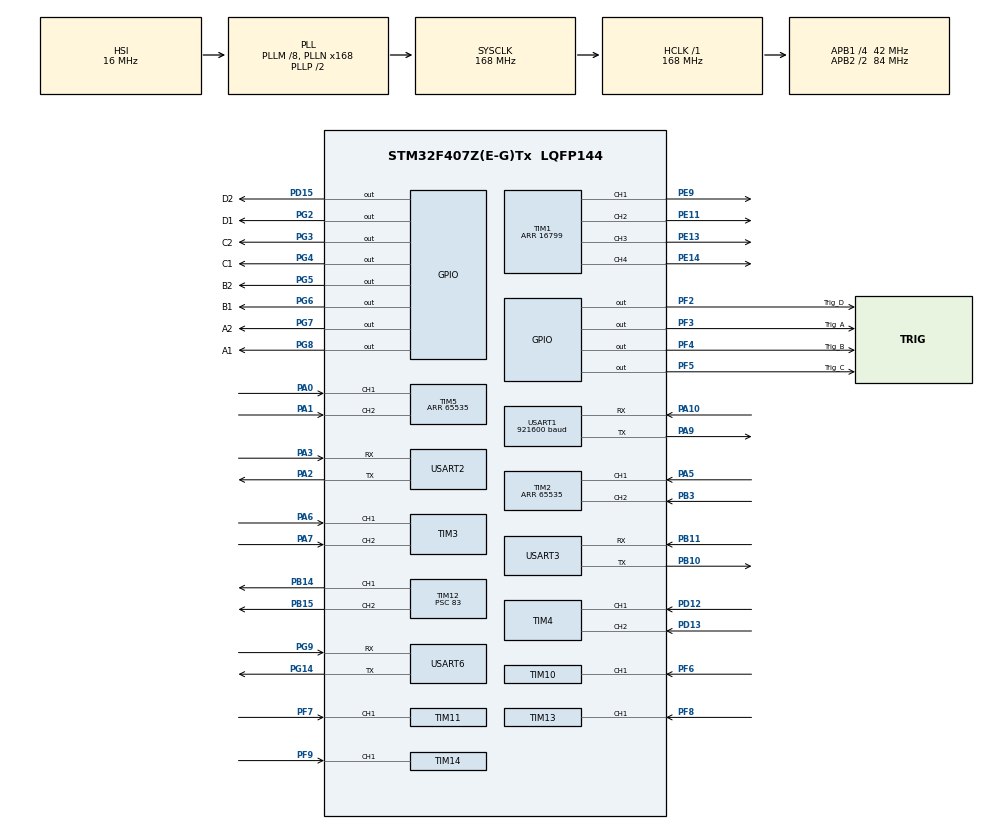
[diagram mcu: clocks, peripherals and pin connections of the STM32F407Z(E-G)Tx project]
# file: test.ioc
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Dma.Request0=USART6_RX
Dma.Request1=USART3_RX
Dma.Request2=USART1_RX
Dma.Request3=USART1_TX
Dma.Request4=USART2_RX
Dma.USART1_RX.2.Direction=DMA_PERIPH_TO_MEMORY
Dma.USART1_RX.2.FIFOMode=DMA_FIFOMODE_DISABLE
Dma.USART1_RX.2.Instance=DMA2_Stream2
Dma.USART1_RX.2.MemDataAlignment=DMA_MDATAALIGN_BYTE
Dma.USART1_RX.2.MemInc=DMA_MINC_ENABLE
Dma.USART1_RX.2.Mode=DMA_CIRCULAR
Dma.USART1_RX.2.PeriphDataAlignment=DMA_PDATAALIGN_BYTE
Dma.USART1_RX.2.PeriphInc=DMA_PINC_DISABLE
Dma.USART1_RX.2.Priority=DMA_PRIORITY_LOW
Dma.USART1_TX.3.Direction=DMA_MEMORY_TO_PERIPH
Dma.USART1_TX.3.FIFOMode=DMA_FIFOMODE_DISABLE
Dma.USART1_TX.3.Instance=DMA2_Stream7
Dma.USART1_TX.3.MemDataAlignment=DMA_MDATAALIGN_BYTE
Dma.USART1_TX.3.MemInc=DMA_MINC_ENABLE
Dma.USART1_TX.3.Mode=DMA_CIRCULAR
Dma.USART1_TX.3.PeriphDataAlignment=DMA_PDATAALIGN_BYTE
Dma.USART1_TX.3.PeriphInc=DMA_PINC_DISABLE
Dma.USART1_TX.3.Priority=DMA_PRIORITY_LOW
Dma.USART2_RX.4.Direction=DMA_PERIPH_TO_MEMORY
Dma.USART2_RX.4.FIFOMode=DMA_FIFOMODE_DISABLE
Dma.USART2_RX.4.Instance=DMA1_Stream5
Dma.USART2_RX.4.MemDataAlignment=DMA_MDATAALIGN_BYTE
Dma.USART2_RX.4.MemInc=DMA_MINC_ENABLE
Dma.USART2_RX.4.Mode=DMA_CIRCULAR
Dma.USART2_RX.4.PeriphDataAlignment=DMA_PDATAALIGN_BYTE
Dma.USART2_RX.4.PeriphInc=DMA_PINC_DISABLE
Dma.USART2_RX.4.Priority=DMA_PRIORITY_LOW
Dma.USART3_RX.1.Direction=DMA_PERIPH_TO_MEMORY
Dma.USART3_RX.1.FIFOMode=DMA_FIFOMODE_DISABLE
Dma.USART3_RX.1.Instance=DMA1_Stream1
Dma.USART3_RX.1.MemDataAlignment=DMA_MDATAALIGN_BYTE
Dma.USART3_RX.1.MemInc=DMA_MINC_ENABLE
Dma.USART3_RX.1.Mode=DMA_CIRCULAR
Dma.USART3_RX.1.PeriphDataAlignment=DMA_PDATAALIGN_BYTE
Dma.USART3_RX.1.PeriphInc=DMA_PINC_DISABLE
Dma.USART3_RX.1.Priority=DMA_PRIORITY_LOW
Dma.USART6_RX.0.Direction=DMA_PERIPH_TO_MEMORY
Dma.USART6_RX.0.FIFOMode=DMA_FIFOMODE_DISABLE
Dma.USART6_RX.0.Instance=DMA2_Stream1
Dma.USART6_RX.0.MemDataAlignment=DMA_MDATAALIGN_BYTE
Dma.USART6_RX.0.MemInc=DMA_MINC_ENABLE
Dma.USART6_RX.0.Mode=DMA_CIRCULAR
Dma.USART6_RX.0.PeriphDataAlignment=DMA_PDATAALIGN_BYTE
Dma.USART6_RX.0.PeriphInc=DMA_PINC_DISABLE
Dma.USART6_RX.0.Priority=DMA_PRIORITY_LOW
FREERTOS.BinarySemaphores01=GoIn_Sem,Dynamic,NULL;Turn_0To90_Sem,Dynamic,NULL;Turn_90To0_Sem,Dynamic,NULL;Shift_Head_Sem,Dynamic,NULL;GoOut_Sem,Dynamic,NULL;Forward_Sem,Dynamic,NULL;Backward_Sem,Dynamic,NULL;Step_Manager_Sem,Dynamic,NULL;ISR_ReadHWT_Sem,Dynamic,NULL;HCSRA_Sem,Dynamic,NULL;HCSRB_Sem,Dynamic,NULL;HCSRC_Sem,Dynamic,NULL;HCSRD_Sem,Dynamic,NULL;Shift_Tail_Sem,Dynamic,NULL;Turn_0_I90_Sem,Dynamic,NULL;Turn_I90_To_0_Sem,Dynamic,NULL;Turn_0To_180_Sem,Dynamic,NULL;Shift_Final_Sem,Dynamic,NULL;Backward_Final_Sem,Dynamic,NULL;ServoSem,Dynamic,NULL;OpenMV_Sem,Dynamic,NULL;openmvSem,Dynamic,NULL
FREERTOS.INCLUDE_vTaskDelayUntil=1
FREERTOS.Tasks01=Run_Task,0,128,RunTask,Default,NULL,Dynamic,NULL,NULL;Step_Manager,-2,128,StepManager,Default,NULL,Dynamic,NULL,NULL;Go_In,-1,128,GoIn,Default,NULL,Dynamic,NULL,NULL;Turn_0To90,-1,128,Turn0_To_90,Default,NULL,Dynamic,NULL,NULL;Turn_90To0,-1,128,Turn90_To_0,Default,NULL,Dynamic,NULL,NULL;Forward,-1,128,Forward_,Default,NULL,Dynamic,NULL,NULL;Backward,-1,128,Backward_,Default,NULL,Dynamic,NULL,NULL;Shift_Head,-1,128,Shift_Head_Task,Default,NULL,Dynamic,NULL,NULL;Go_Out,-1,128,GoOut,Default,NULL,Dynamic,NULL,NULL;Read_HWT101,2,128,ReadHWT101,Default,NULL,Dynamic,NULL,NULL;Start_ISR,3,128,StartISR,Default,NULL,Dynamic,NULL,NULL;HCSRA_Process,1,128,HCSRAProcess,Default,NULL,Dynamic,NULL,NULL;HCSRB_Process,1,128,HCSRBProcess,Default,NULL,Dynamic,NULL,NULL;Shift_Tail,-1,128,Shift_Tail_Task,Default,NULL,Dynamic,NULL,NULL;Turn_Zero_To_I9,-1,128,Turn_Zero_To_I90_Task,Default,NULL,Dynamic,NULL,NULL;Turn_I90_To_Zer,-1,128,Turn_I90_To_Zero,Default,NULL,Dynamic,NULL,NULL;Turn_0To_180,-1,128,Turn_0To_180_Task,Default,NULL,Dynamic,NULL,NULL;Shift_Final,-1,128,Shift_Final_Task,Default,NULL,Dynamic,NULL,NULL;Backward_Final,-1,128,Backward_Final_Task,Default,NULL,Dynamic,NULL,NULL;Servo,-1,128,Servo_Task,Default,NULL,Dynamic,NULL,NULL;OpenMV_Process,3,128,OpenMV_Process_Task,Default,NULL,Dynamic,NULL,NULL;openmv_walk,3,128,openmv_walk_task,Default,NULL,Dynamic,NULL,NULL
FREERTOS.configCHECK_FOR_STACK_OVERFLOW=2
FREERTOS.configLIBRARY_MAX_SYSCALL_INTERRUPT_PRIORITY=1
Mcu.Family=STM32F4
Mcu.Name=STM32F407Z(E-G)Tx
Mcu.Package=LQFP144
NVIC.DMA1_Stream1_IRQn=true\:0\:0\:false\:false\:true\:true\:false\:true
NVIC.DMA1_Stream5_IRQn=true\:0\:0\:false\:false\:true\:true\:false\:true
NVIC.DMA2_Stream1_IRQn=true\:0\:0\:false\:false\:true\:true\:false\:true
NVIC.DMA2_Stream2_IRQn=true\:0\:0\:false\:false\:true\:true\:false\:true
NVIC.DMA2_Stream7_IRQn=true\:0\:0\:false\:false\:true\:true\:false\:true
NVIC.PriorityGroup=NVIC_PRIORITYGROUP_4
NVIC.TIM1_TRG_COM_TIM11_IRQn=true\:4\:0\:true\:false\:true\:false\:true\:true
NVIC.TIM1_UP_TIM10_IRQn=true\:4\:0\:true\:false\:true\:false\:true\:true
NVIC.TIM6_DAC_IRQn=true\:0\:0\:false\:false\:true\:false\:false\:true
NVIC.TIM8_TRG_COM_TIM14_IRQn=true\:4\:0\:true\:false\:true\:true\:true\:true
NVIC.TIM8_UP_TIM13_IRQn=true\:4\:0\:true\:false\:true\:true\:true\:true
NVIC.TimeBase=TIM6_DAC_IRQn
NVIC.TimeBaseIP=TIM6
NVIC.USART1_IRQn=true\:3\:0\:true\:false\:true\:false\:true\:true
NVIC.USART2_IRQn=true\:3\:0\:true\:false\:true\:false\:true\:true
NVIC.USART3_IRQn=true\:3\:0\:true\:false\:true\:false\:true\:true
NVIC.USART6_IRQn=true\:3\:0\:true\:false\:true\:true\:true\:true
PA0-WKUP.Signal=S_TIM5_CH1
PA1.Signal=S_TIM5_CH2
PA10.Mode=Asynchronous
PA10.Signal=USART1_RX
PA13.Mode=Serial_Wire
PA13.Signal=SYS_JTMS-SWDIO
PA14.Mode=Serial_Wire
PA14.Signal=SYS_JTCK-SWCLK
PA2.Mode=Asynchronous
PA2.Signal=USART2_TX
PA3.Mode=Asynchronous
PA3.Signal=USART2_RX
PA5.Signal=S_TIM2_CH1_ETR
PA6.Signal=S_TIM3_CH1
PA7.Signal=S_TIM3_CH2
PA9.Mode=Asynchronous
PA9.Signal=USART1_TX
PB10.Mode=Asynchronous
PB10.Signal=USART3_TX
PB11.Mode=Asynchronous
PB11.Signal=USART3_RX
PB14.Signal=S_TIM12_CH1
PB15.Signal=S_TIM12_CH2
PB3.Signal=S_TIM2_CH2
PC14-OSC32_IN.Mode=LSE-External-Oscillator
PC14-OSC32_IN.Signal=RCC_OSC32_IN
PC15-OSC32_OUT.Mode=LSE-External-Oscillator
PC15-OSC32_OUT.Signal=RCC_OSC32_OUT
PD12.Signal=S_TIM4_CH1
PD13.Signal=S_TIM4_CH2
PD15.GPIO_Label=D2
PD15.Signal=GPIO_Output
PE11.Signal=S_TIM1_CH2
PE13.Signal=S_TIM1_CH3
PE14.Signal=S_TIM1_CH4
PE9.Signal=S_TIM1_CH1
PF2.GPIO_Label=Trig_D
PF2.Signal=GPIO_Output
PF3.GPIO_Label=Trig_A
PF3.Signal=GPIO_Output
PF4.GPIO_Label=Trig_B
PF4.Signal=GPIO_Output
PF5.GPIO_Label=Trig_C
PF5.Signal=GPIO_Output
PF6.Signal=S_TIM10_CH1
PF7.Signal=S_TIM11_CH1
PF8.Signal=S_TIM13_CH1
PF9.Signal=S_TIM14_CH1
PG14.Mode=Asynchronous
PG14.Signal=USART6_TX
PG2.GPIO_Label=D1
PG2.Signal=GPIO_Output
PG3.GPIO_Label=C2
PG3.Signal=GPIO_Output
PG4.GPIO_Label=C1
PG4.Signal=GPIO_Output
PG5.GPIO_Label=B2
PG5.Signal=GPIO_Output
PG6.GPIO_Label=B1
PG6.Signal=GPIO_Output
PG7.GPIO_Label=A2
PG7.Signal=GPIO_Output
PG8.GPIO_Label=A1
PG8.Signal=GPIO_Output
PG9.Mode=Asynchronous
PG9.Signal=USART6_RX
PH0-OSC_IN.Mode=HSE-External-Oscillator
PH0-OSC_IN.Signal=RCC_OSC_IN
PH1-OSC_OUT.Mode=HSE-External-Oscillator
PH1-OSC_OUT.Signal=RCC_OSC_OUT
ProjectManager.HeapSize=0x200
ProjectManager.StackSize=0x400
ProjectManager.TargetToolchain=MDK-ARM V5
RCC.48MHZClocksFreq_Value=84000000
RCC.AHBFreq_Value=168000000
RCC.APB1CLKDivider=RCC_HCLK_DIV4
RCC.APB1Freq_Value=42000000
RCC.APB1TimFreq_Value=84000000
RCC.APB2CLKDivider=RCC_HCLK_DIV2
RCC.APB2Freq_Value=84000000
RCC.APB2TimFreq_Value=168000000
RCC.CortexFreq_Value=168000000
RCC.HCLKFreq_Value=168000000
RCC.HSE_VALUE=8000000
RCC.HSI_VALUE=16000000
RCC.PLLM=8
RCC.PLLN=168
RCC.RCC_RTC_Clock_Source=RCC_RTCCLKSOURCE_LSI
RCC.RCC_RTC_Clock_SourceVirtual=RCC_RTCCLKSOURCE_LSI
RCC.SYSCLKFreq_VALUE=168000000
RCC.SYSCLKSource=RCC_SYSCLKSOURCE_PLLCLK
RCC.VCOOutputFreq_Value=336000000
SH.S_TIM10_CH1.0=TIM10_CH1,Input_Capture1_from_TI1
SH.S_TIM11_CH1.0=TIM11_CH1,Input_Capture1_from_TI1
SH.S_TIM12_CH1.0=TIM12_CH1,PWM Generation1 CH1
SH.S_TIM12_CH2.0=TIM12_CH2,PWM Generation2 CH2
SH.S_TIM13_CH1.0=TIM13_CH1,Input_Capture1_from_TI1
SH.S_TIM14_CH1.0=TIM14_CH1,Input_Capture1_from_TI1
SH.S_TIM1_CH1.0=TIM1_CH1,PWM Generation1 CH1
SH.S_TIM1_CH2.0=TIM1_CH2,PWM Generation2 CH2
SH.S_TIM1_CH3.0=TIM1_CH3,PWM Generation3 CH3
SH.S_TIM1_CH4.0=TIM1_CH4,PWM Generation4 CH4
SH.S_TIM2_CH1_ETR.0=TIM2_CH1,Encoder_Interface
SH.S_TIM2_CH2.0=TIM2_CH2,Encoder_Interface
SH.S_TIM3_CH1.0=TIM3_CH1,Encoder_Interface
SH.S_TIM3_CH2.0=TIM3_CH2,Encoder_Interface
SH.S_TIM4_CH1.0=TIM4_CH1,Encoder_Interface
SH.S_TIM4_CH2.0=TIM4_CH2,Encoder_Interface
SH.S_TIM5_CH1.0=TIM5_CH1,Encoder_Interface
SH.S_TIM5_CH2.0=TIM5_CH2,Encoder_Interface
TIM1.Channel-PWM\ Generation1\ CH1=TIM_CHANNEL_1
TIM1.Channel-PWM\ Generation2\ CH2=TIM_CHANNEL_2
TIM1.Channel-PWM\ Generation3\ CH3=TIM_CHANNEL_3
TIM1.Channel-PWM\ Generation4\ CH4=TIM_CHANNEL_4
TIM1.Period=16799
TIM10.Channel=TIM_CHANNEL_1
TIM10.Prescaler=167
TIM11.Channel=TIM_CHANNEL_1
TIM11.Prescaler=167
TIM12.AutoReloadPreload=TIM_AUTORELOAD_PRELOAD_ENABLE
TIM12.Channel-PWM\ Generation1\ CH1=TIM_CHANNEL_1
TIM12.Channel-PWM\ Generation2\ CH2=TIM_CHANNEL_2
TIM12.Period=19999
TIM12.Prescaler=83
TIM13.Channel=TIM_CHANNEL_1
TIM13.Prescaler=83
TIM14.Channel=TIM_CHANNEL_1
TIM14.Prescaler=83
TIM2.EncoderMode=TIM_ENCODERMODE_TI12
TIM2.Period=65535
TIM3.EncoderMode=TIM_ENCODERMODE_TI12
TIM4.EncoderMode=TIM_ENCODERMODE_TI12
TIM5.EncoderMode=TIM_ENCODERMODE_TI12
TIM5.Period=65535
USART1.BaudRate=921600
USART1.VirtualMode=VM_ASYNC
USART2.VirtualMode=VM_ASYNC
USART3.VirtualMode=VM_ASYNC
USART6.VirtualMode=VM_ASYNC
VP_FREERTOS_VS_CMSIS_V1.Mode=CMSIS_V1
VP_SYS_VS_tim6.Mode=TIM6
VP_TIM10_VS_ClockSourceINT.Mode=Enable_Timer
VP_TIM11_VS_ClockSourceINT.Mode=Enable_Timer
VP_TIM13_VS_ClockSourceINT.Mode=Enable_Timer
VP_TIM14_VS_ClockSourceINT.Mode=Enable_Timer
board=custom

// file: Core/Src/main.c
/* USER CODE BEGIN Header */
/**
  ******************************************************************************
  * @file           : main.c
  * @brief          : Main program body
  ******************************************************************************
  * @attention
  *
  * <h2><center>&copy; Copyright (c) 2020 STMicroelectronics.
  * All rights reserved.</center></h2>
  *
  * This software component is licensed by ST under Ultimate Liberty license
  * SLA0044, the "License"; You may not use this file except in compliance with
  * the License. You may obtain a copy of the License at:
  *                             www.st.com/SLA0044
  *
  ******************************************************************************
  */
/* USER CODE END Header */
#include "main.h"
#include "cmsis_os.h"
#include "dma.h"
#include "tim.h"
#include "usart.h"
#include "gpio.h"

/* USER CODE BEGIN Includes */
#include "PID.h"
#include "RUN.h"
/* USER CODE END Includes */

/* USER CODE BEGIN PTD */
extern int16_t *Encoder;
/* USER CODE END PTD */

void SystemClock_Config(void);
void MX_FREERTOS_Init(void);

int main(void)
{

  /* MCU Configuration--------------------------------------------------------*/

  /* Reset of all peripherals, Initializes the Flash interface and the Systick. */
  HAL_Init();

  /* Configure the system clock */
  SystemClock_Config();

  /* Initialize all configured peripherals */
  MX_GPIO_Init();
  MX_DMA_Init();
  MX_TIM1_Init();
  MX_TIM2_Init();
  MX_TIM3_Init();
  MX_TIM4_Init();
  MX_TIM5_Init();
  MX_USART1_UART_Init();
  MX_USART2_UART_Init();
  MX_TIM10_Init();
  MX_TIM11_Init();
  MX_TIM13_Init();
  MX_TIM14_Init();
  MX_USART3_UART_Init();
  MX_USART6_UART_Init();
  MX_TIM12_Init();
  /* USER CODE BEGIN 2 */

	HAL_TIM_Encoder_Start(&htim2, TIM_CHANNEL_ALL);//切记配置T1T2四倍频输出
	HAL_TIM_Encoder_Start(&htim3, TIM_CHANNEL_ALL);//切记配置T1T2四倍频输出
	HAL_TIM_Encoder_Start(&htim4, TIM_CHANNEL_ALL);//切记配置T1T2四倍频输出
	HAL_TIM_Encoder_Start(&htim5, TIM_CHANNEL_ALL);//切记配置T1T2四倍频输出

	HAL_TIM_PWM_Start(&htim1, TIM_CHANNEL_1);
	HAL_TIM_PWM_Start(&htim1, TIM_CHANNEL_2);
	HAL_TIM_PWM_Start(&htim1, TIM_CHANNEL_3);
	HAL_TIM_PWM_Start(&htim1, TIM_CHANNEL_4);

	HAL_TIM_PWM_Start(&htim12, TIM_CHANNEL_1);
	HAL_TIM_PWM_Start(&htim12, TIM_CHANNEL_2);

	ALL_PID_Init();//初始化PID参数

	HAL_Delay(3000);//延迟3秒再启动

  /* USER CODE END 2 */

  /* Call init function for freertos objects (in freertos.c) */
  MX_FREERTOS_Init();
  /* Start scheduler */
  osKernelStart();

  /* We should never get here as control is now taken by the scheduler */
  /* Infinite loop */
  while (1)
  {

  }
}

void SystemClock_Config(void)
{
  RCC_OscInitTypeDef RCC_OscInitStruct = {0};
  RCC_ClkInitTypeDef RCC_ClkInitStruct = {0};
  RCC_PeriphCLKInitTypeDef PeriphClkInitStruct = {0};

  /** Configure the main internal regulator output voltage
  */
  __HAL_RCC_PWR_CLK_ENABLE();
  __HAL_PWR_VOLTAGESCALING_CONFIG(PWR_REGULATOR_VOLTAGE_SCALE1);
  /** Initializes the RCC Oscillators according to the specified parameters
  * in the RCC_OscInitTypeDef structure.
  */
  RCC_OscInitStruct.OscillatorType = RCC_OSCILLATORTYPE_HSI|RCC_OSCILLATORTYPE_HSE;
  RCC_OscInitStruct.HSEState = RCC_HSE_ON;
  RCC_OscInitStruct.HSIState = RCC_HSI_ON;
  RCC_OscInitStruct.HSICalibrationValue = RCC_HSICALIBRATION_DEFAULT;
  RCC_OscInitStruct.PLL.PLLState = RCC_PLL_ON;
  RCC_OscInitStruct.PLL.PLLSource = RCC_PLLSOURCE_HSI;
  RCC_OscInitStruct.PLL.PLLM = 8;
  RCC_OscInitStruct.PLL.PLLN = 168;
  RCC_OscInitStruct.PLL.PLLP = RCC_PLLP_DIV2;
  RCC_OscInitStruct.PLL.PLLQ = 4;
  if (HAL_RCC_OscConfig(&RCC_OscInitStruct) != HAL_OK)
  {
    Error_Handler();
  }
  /** Initializes the CPU, AHB and APB buses clocks
  */
  RCC_ClkInitStruct.ClockType = RCC_CLOCKTYPE_HCLK|RCC_CLOCKTYPE_SYSCLK
                              |RCC_CLOCKTYPE_PCLK1|RCC_CLOCKTYPE_PCLK2;
  RCC_ClkInitStruct.SYSCLKSource = RCC_SYSCLKSOURCE_PLLCLK;
  RCC_ClkInitStruct.AHBCLKDivider = RCC_SYSCLK_DIV1;
  RCC_ClkInitStruct.APB1CLKDivider = RCC_HCLK_DIV4;
  RCC_ClkInitStruct.APB2CLKDivider = RCC_HCLK_DIV2;

  if (HAL_RCC_ClockConfig(&RCC_ClkInitStruct, FLASH_LATENCY_5) != HAL_OK)
  {
    Error_Handler();
  }
  PeriphClkInitStruct.PeriphClockSelection = RCC_PERIPHCLK_RTC;
  PeriphClkInitStruct.RTCClockSelection = RCC_RTCCLKSOURCE_LSI;
  if (HAL_RCCEx_PeriphCLKConfig(&PeriphClkInitStruct) != HAL_OK)
  {
    Error_Handler();
  }
}

void HAL_TIM_PeriodElapsedCallback(TIM_HandleTypeDef *htim)
{
  if (htim->Instance == TIM6) {
    HAL_IncTick();
  }
}

void Error_Handler(void)
{
}

/************************ (C) COPYRIGHT STMicroelectronics *****END OF FILE****/

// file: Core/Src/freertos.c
/* USER CODE BEGIN Header */
/**
  ******************************************************************************
  * File Name          : freertos.c
  * Description        : Code for freertos applications
  ******************************************************************************
  * @attention
  *
  * <h2><center>&copy; Copyright (c) 2020 STMicroelectronics.
  * All rights reserved.</center></h2>
  *
  * This software component is licensed by ST under Ultimate Liberty license
  * SLA0044, the "License"; You may not use this file except in compliance with
  * the License. You may obtain a copy of the License at:
  *                             www.st.com/SLA0044
  *
  ******************************************************************************
  */
/* USER CODE END Header */

#include "FreeRTOS.h"
#include "task.h"
#include "main.h"
#include "cmsis_os.h"

/* USER CODE BEGIN Includes */
#include "MOTION_CONTROL.h"
#include "PID.h"
#include "RUN.h"
#include "HCSR04.h"
#include "stdio.h"
#include	"bsp_laser.h"
#include  "bsp_gyro.h"
/* USER CODE END Includes */

/* USER CODE BEGIN PTD */
#define Turn_Range 3.0
#define Forward_Dis 30
#define Backward_Dis 10
#define AlongWall_Dis 230
#define GoIn_Dis 50
#define GoOut_Dis 50

#define Shift_Dis 57

#define fast_speed 1500
#define middle_speed 800
#define shift_speed 1200

uint8_t Servo_Flag=0;
//1200 中等
//800  最慢

uint16_t up_servo=2400;

uint16_t down_servo=900;

/* USER CODE END PTD */

/* USER CODE BEGIN Variables */
extern UART_HandleTypeDef huart1;
extern TIM_HandleTypeDef htim10;
extern TIM_HandleTypeDef htim11;
extern TIM_HandleTypeDef htim13;
extern TIM_HandleTypeDef htim14;

/* USER CODE END Variables */
osThreadId Run_TaskHandle;
osThreadId Step_ManagerHandle;
osThreadId Go_InHandle;
osThreadId Turn_0To90Handle;
osThreadId Turn_90To0Handle;
osThreadId ForwardHandle;
osThreadId BackwardHandle;
osThreadId Shift_HeadHandle;
osThreadId Go_OutHandle;
osThreadId Read_HWT101Handle;
osThreadId Start_ISRHandle;
osThreadId HCSRA_ProcessHandle;
osThreadId HCSRB_ProcessHandle;
osThreadId Shift_TailHandle;
osThreadId Turn_Zero_To_I9Handle;
osThreadId Turn_I90_To_ZerHandle;
osThreadId Turn_0To_180Handle;
osThreadId Shift_FinalHandle;
osThreadId Backward_FinalHandle;
osThreadId ServoHandle;
osThreadId OpenMV_ProcessHandle;
osThreadId openmv_walkHandle;
osSemaphoreId GoIn_SemHandle;
osSemaphoreId Turn_0To90_SemHandle;
osSemaphoreId Turn_90To0_SemHandle;
osSemaphoreId Shift_Head_SemHandle;
osSemaphoreId GoOut_SemHandle;
osSemaphoreId Forward_SemHandle;
osSemaphoreId Backward_SemHandle;
osSemaphoreId Step_Manager_SemHandle;
osSemaphoreId ISR_ReadHWT_SemHandle;
osSemaphoreId HCSRA_SemHandle;
osSemaphoreId HCSRB_SemHandle;
osSemaphoreId HCSRC_SemHandle;
osSemaphoreId HCSRD_SemHandle;
osSemaphoreId Shift_Tail_SemHandle;
osSemaphoreId Turn_0_I90_SemHandle;
osSemaphoreId Turn_I90_To_0_SemHandle;
osSemaphoreId Turn_0To_180_SemHandle;
osSemaphoreId Shift_Final_SemHandle;
osSemaphoreId Backward_Final_SemHandle;
osSemaphoreId ServoSemHandle;
osSemaphoreId OpenMV_SemHandle;
osSemaphoreId openmvSemHandle;

void RunTask(void const * argument);
void StepManager(void const * argument);
void GoIn(void const * argument);
void Turn0_To_90(void const * argument);
void Turn90_To_0(void const * argument);
void Forward_(void const * argument);
void Backward_(void const * argument);
void Shift_Head_Task(void const * argument);
void GoOut(void const * argument);
void ReadHWT101(void const * argument);
void StartISR(void const * argument);
void HCSRAProcess(void const * argument);
void HCSRBProcess(void const * argument);
void Shift_Tail_Task(void const * argument);
void Turn_Zero_To_I90_Task(void const * argument);
void Turn_I90_To_Zero(void const * argument);
void Turn_0To_180_Task(void const * argument);
void Shift_Final_Task(void const * argument);
void Backward_Final_Task(void const * argument);
void Servo_Task(void const * argument);
void OpenMV_Process_Task(void const * argument);
void openmv_walk_task(void const * argument);

void MX_FREERTOS_Init(void); /* (MISRA C 2004 rule 8.1) */

/* GetIdleTaskMemory prototype (linked to static allocation support) */
void vApplicationGetIdleTaskMemory( StaticTask_t **ppxIdleTaskTCBBuffer, StackType_t **ppxIdleTaskStackBuffer, uint32_t *pulIdleTaskStackSize );

/* Hook prototypes */
void vApplicationStackOverflowHook(xTaskHandle xTask, signed char *pcTaskName);

/* USER CODE BEGIN 4 */
__weak void vApplicationStackOverflowHook(xTaskHandle xTask, signed char *pcTaskName)
{
   /* Run time stack overflow checking is performed if
   configCHECK_FOR_STACK_OVERFLOW is defined to 1 or 2. This hook function is
   called if a stack overflow is detected. */
	 printf("任务：%s堆栈溢出\r\n", pcTaskName);
}

float absolute(float ang)
{
	if(ang>=0) return ang;
	else return 360+ang;
}
/* USER CODE END 4 */

/* USER CODE BEGIN GET_IDLE_TASK_MEMORY */
static StaticTask_t xIdleTaskTCBBuffer;
static StackType_t xIdleStack[configMINIMAL_STACK_SIZE];

void vApplicationGetIdleTaskMemory( StaticTask_t **ppxIdleTaskTCBBuffer, StackType_t **ppxIdleTaskStackBuffer, uint32_t *pulIdleTaskStackSize )
{
  *ppxIdleTaskTCBBuffer = &xIdleTaskTCBBuffer;
  *ppxIdleTaskStackBuffer = &xIdleStack[0];
  *pulIdleTaskStackSize = configMINIMAL_STACK_SIZE;
  /* place for user code */
}
/* USER CODE END GET_IDLE_TASK_MEMORY */

void MX_FREERTOS_Init(void) {

  /* Create the semaphores(s) */
  /* definition and creation of GoIn_Sem */
  osSemaphoreDef(GoIn_Sem);
  GoIn_SemHandle = osSemaphoreCreate(osSemaphore(GoIn_Sem), 1);

  /* definition and creation of Turn_0To90_Sem */
  osSemaphoreDef(Turn_0To90_Sem);
  Turn_0To90_SemHandle = osSemaphoreCreate(osSemaphore(Turn_0To90_Sem), 1);

  /* definition and creation of Turn_90To0_Sem */
  osSemaphoreDef(Turn_90To0_Sem);
  Turn_90To0_SemHandle = osSemaphoreCreate(osSemaphore(Turn_90To0_Sem), 1);

  /* definition and creation of Shift_Head_Sem */
  osSemaphoreDef(Shift_Head_Sem);
  Shift_Head_SemHandle = osSemaphoreCreate(osSemaphore(Shift_Head_Sem), 1);

  /* definition and creation of GoOut_Sem */
  osSemaphoreDef(GoOut_Sem);
  GoOut_SemHandle = osSemaphoreCreate(osSemaphore(GoOut_Sem), 1);

  /* definition and creation of Forward_Sem */
  osSemaphoreDef(Forward_Sem);
  Forward_SemHandle = osSemaphoreCreate(osSemaphore(Forward_Sem), 1);

  /* definition and creation of Backward_Sem */
  osSemaphoreDef(Backward_Sem);
  Backward_SemHandle = osSemaphoreCreate(osSemaphore(Backward_Sem), 1);

  /* definition and creation of Step_Manager_Sem */
  osSemaphoreDef(Step_Manager_Sem);
  Step_Manager_SemHandle = osSemaphoreCreate(osSemaphore(Step_Manager_Sem), 1);

  /* definition and creation of ISR_ReadHWT_Sem */
  osSemaphoreDef(ISR_ReadHWT_Sem);
  ISR_ReadHWT_SemHandle = osSemaphoreCreate(osSemaphore(ISR_ReadHWT_Sem), 1);

  /* definition and creation of HCSRA_Sem */
  osSemaphoreDef(HCSRA_Sem);
  HCSRA_SemHandle = osSemaphoreCreate(osSemaphore(HCSRA_Sem), 1);

  /* definition and creation of HCSRB_Sem */
  osSemaphoreDef(HCSRB_Sem);
  HCSRB_SemHandle = osSemaphoreCreate(osSemaphore(HCSRB_Sem), 1);

  /* definition and creation of HCSRC_Sem */
  osSemaphoreDef(HCSRC_Sem);
  HCSRC_SemHandle = osSemaphoreCreate(osSemaphore(HCSRC_Sem), 1);

  /* definition and creation of HCSRD_Sem */
  osSemaphoreDef(HCSRD_Sem);
  HCSRD_SemHandle = osSemaphoreCreate(osSemaphore(HCSRD_Sem), 1);

  /* definition and creation of Shift_Tail_Sem */
  osSemaphoreDef(Shift_Tail_Sem);
  Shift_Tail_SemHandle = osSemaphoreCreate(osSemaphore(Shift_Tail_Sem), 1);

  /* definition and creation of Turn_0_I90_Sem */
  osSemaphoreDef(Turn_0_I90_Sem);
  Turn_0_I90_SemHandle = osSemaphoreCreate(osSemaphore(Turn_0_I90_Sem), 1);

  /* definition and creation of Turn_I90_To_0_Sem */
  osSemaphoreDef(Turn_I90_To_0_Sem);
  Turn_I90_To_0_SemHandle = osSemaphoreCreate(osSemaphore(Turn_I90_To_0_Sem), 1);

  /* definition and creation of Turn_0To_180_Sem */
  osSemaphoreDef(Turn_0To_180_Sem);
  Turn_0To_180_SemHandle = osSemaphoreCreate(osSemaphore(Turn_0To_180_Sem), 1);

  /* definition and creation of Shift_Final_Sem */
  osSemaphoreDef(Shift_Final_Sem);
  Shift_Final_SemHandle = osSemaphoreCreate(osSemaphore(Shift_Final_Sem), 1);

  /* definition and creation of Backward_Final_Sem */
  osSemaphoreDef(Backward_Final_Sem);
  Backward_Final_SemHandle = osSemaphoreCreate(osSemaphore(Backward_Final_Sem), 1);

  /* definition and creation of ServoSem */
  osSemaphoreDef(ServoSem);
  ServoSemHandle = osSemaphoreCreate(osSemaphore(ServoSem), 1);

  /* definition and creation of OpenMV_Sem */
  osSemaphoreDef(OpenMV_Sem);
  OpenMV_SemHandle = osSemaphoreCreate(osSemaphore(OpenMV_Sem), 1);

  /* definition and creation of openmvSem */
  osSemaphoreDef(openmvSem);
  openmvSemHandle = osSemaphoreCreate(osSemaphore(openmvSem), 1);

  /* USER CODE BEGIN RTOS_SEMAPHORES */
  /* add semaphores, ... */

////////////////	//这里不懂

	//清除信号量创建时自动释放的一次信号量		如果添加了新的信号量 		务必在此加上相应信号量
	osSemaphoreWait(GoIn_SemHandle, osWaitForever);
	osSemaphoreWait(Turn_0To90_SemHandle, osWaitForever);
	osSemaphoreWait(Turn_90To0_SemHandle, osWaitForever);
	osSemaphoreWait(Turn_0_I90_SemHandle, osWaitForever);
	osSemaphoreWait(Turn_I90_To_0_SemHandle, osWaitForever);
	osSemaphoreWait(Shift_Head_SemHandle, osWaitForever);
	osSemaphoreWait(Shift_Tail_SemHandle, osWaitForever);
	osSemaphoreWait(GoOut_SemHandle, osWaitForever);
	osSemaphoreWait(Forward_SemHandle, osWaitForever);
	osSemaphoreWait(Backward_SemHandle, osWaitForever);
	osSemaphoreWait(Step_Manager_SemHandle, osWaitForever);
	osSemaphoreWait(ISR_ReadHWT_SemHandle, osWaitForever);
	osSemaphoreWait(HCSRA_SemHandle, osWaitForever);
	osSemaphoreWait(HCSRB_SemHandle, osWaitForever);
	osSemaphoreWait(HCSRC_SemHandle, osWaitForever);
	osSemaphoreWait(HCSRD_SemHandle, osWaitForever);
	osSemaphoreWait(Turn_0To_180_SemHandle, osWaitForever);
	osSemaphoreWait(Shift_Final_SemHandle, osWaitForever);
	osSemaphoreWait(Backward_Final_SemHandle, osWaitForever);
	osSemaphoreWait(ServoSemHandle, osWaitForever);
	osSemaphoreWait(OpenMV_SemHandle, osWaitForever);
	osSemaphoreWait(openmvSemHandle, osWaitForever);
	//清除信号量创建时自动释放的一次信号量		如果添加了新的信号量 		务必在此加上相应信号量

  /* USER CODE END RTOS_SEMAPHORES */

  /* Create the thread(s) */
  /* definition and creation of Run_Task */
  osThreadDef(Run_Task, RunTask, osPriorityNormal, 0, 128);
  Run_TaskHandle = osThreadCreate(osThread(Run_Task), NULL);

  /* definition and creation of Step_Manager */
  osThreadDef(Step_Manager, StepManager, osPriorityLow, 0, 128);
  Step_ManagerHandle = osThreadCreate(osThread(Step_Manager), NULL);

  /* definition and creation of Go_In */
  osThreadDef(Go_In, GoIn, osPriorityBelowNormal, 0, 128);
  Go_InHandle = osThreadCreate(osThread(Go_In), NULL);

  /* definition and creation of Turn_0To90 */
  osThreadDef(Turn_0To90, Turn0_To_90, osPriorityBelowNormal, 0, 128);
  Turn_0To90Handle = osThreadCreate(osThread(Turn_0To90), NULL);

  /* definition and creation of Turn_90To0 */
  osThreadDef(Turn_90To0, Turn90_To_0, osPriorityBelowNormal, 0, 128);
  Turn_90To0Handle = osThreadCreate(osThread(Turn_90To0), NULL);

  /* definition and creation of Forward */
  osThreadDef(Forward, Forward_, osPriorityBelowNormal, 0, 128);
  ForwardHandle = osThreadCreate(osThread(Forward), NULL);

  /* definition and creation of Backward */
  osThreadDef(Backward, Backward_, osPriorityBelowNormal, 0, 128);
  BackwardHandle = osThreadCreate(osThread(Backward), NULL);

  /* definition and creation of Shift_Head */
  osThreadDef(Shift_Head, Shift_Head_Task, osPriorityBelowNormal, 0, 128);
  Shift_HeadHandle = osThreadCreate(osThread(Shift_Head), NULL);

  /* definition and creation of Go_Out */
  osThreadDef(Go_Out, GoOut, osPriorityBelowNormal, 0, 128);
  Go_OutHandle = osThreadCreate(osThread(Go_Out), NULL);

  /* definition and creation of Read_HWT101 */
  osThreadDef(Read_HWT101, ReadHWT101, osPriorityHigh, 0, 128);
  Read_HWT101Handle = osThreadCreate(osThread(Read_HWT101), NULL);

  /* definition and creation of Start_ISR */
  osThreadDef(Start_ISR, StartISR, osPriorityRealtime, 0, 128);
  Start_ISRHandle = osThreadCreate(osThread(Start_ISR), NULL);

  /* definition and creation of HCSRA_Process */
  osThreadDef(HCSRA_Process, HCSRAProcess, osPriorityAboveNormal, 0, 128);
  HCSRA_ProcessHandle = osThreadCreate(osThread(HCSRA_Process), NULL);

  /* definition and creation of HCSRB_Process */
  osThreadDef(HCSRB_Process, HCSRBProcess, osPriorityAboveNormal, 0, 128);
  HCSRB_ProcessHandle = osThreadCreate(osThread(HCSRB_Process), NULL);

  /* definition and creation of Shift_Tail */
  osThreadDef(Shift_Tail, Shift_Tail_Task, osPriorityBelowNormal, 0, 128);
  Shift_TailHandle = osThreadCreate(osThread(Shift_Tail), NULL);

  /* definition and creation of Turn_Zero_To_I9 */
  osThreadDef(Turn_Zero_To_I9, Turn_Zero_To_I90_Task, osPriorityBelowNormal, 0, 128);
  Turn_Zero_To_I9Handle = osThreadCreate(osThread(Turn_Zero_To_I9), NULL);

  /* definition and creation of Turn_I90_To_Zer */
  osThreadDef(Turn_I90_To_Zer, Turn_I90_To_Zero, osPriorityBelowNormal, 0, 128);
  Turn_I90_To_ZerHandle = osThreadCreate(osThread(Turn_I90_To_Zer), NULL);

  /* definition and creation of Turn_0To_180 */
  osThreadDef(Turn_0To_180, Turn_0To_180_Task, osPriorityBelowNormal, 0, 128);
  Turn_0To_180Handle = osThreadCreate(osThread(Turn_0To_180), NULL);

  /* definition and creation of Shift_Final */
  osThreadDef(Shift_Final, Shift_Final_Task, osPriorityBelowNormal, 0, 128);
  Shift_FinalHandle = osThreadCreate(osThread(Shift_Final), NULL);

  /* definition and creation of Backward_Final */
  osThreadDef(Backward_Final, Backward_Final_Task, osPriorityBelowNormal, 0, 128);
  Backward_FinalHandle = osThreadCreate(osThread(Backward_Final), NULL);

  /* definition and creation of Servo */
  osThreadDef(Servo, Servo_Task, osPriorityBelowNormal, 0, 128);
  ServoHandle = osThreadCreate(osThread(Servo), NULL);

  /* definition and creation of OpenMV_Process */
  osThreadDef(OpenMV_Process, OpenMV_Process_Task, osPriorityRealtime, 0, 128);
  OpenMV_ProcessHandle = osThreadCreate(osThread(OpenMV_Process), NULL);

  /* definition and creation of openmv_walk */
  osThreadDef(openmv_walk, openmv_walk_task, osPriorityRealtime, 0, 128);
  openmv_walkHandle = osThreadCreate(osThread(openmv_walk), NULL);

}

void RunTask(void const * argument)
{
  /* USER CODE BEGIN RunTask */
	uint32_t wakeuptime;
//	uint8_t alongwall_end=0;
  /* Infinite loop */
  for(;;)
  {
		wakeuptime=osKernelSysTick();//定期获取时间

		Ultrasonic_Trig_ALL();
		Encoder=read_encoder();

		Calculate_Position();
		Calculate_Displacement();

//		TIM12->CCR1=up_servo;
//		TIM12->CCR2=down_servo;

//		x=600;
//		z=PID_Position_float(angle, 0, &PID_Object[HWT101]);
//
//			y=PID_Position(LASER_Data_Buff[Laser_One_Distance],10, &PID_Object[LAPID_A]);
//			y=PID_Position(HCSR_Object[HCSR_B].Output_Distance,10,&PID_Object[HCNEW_B]);
//		x=PID_Position(HCSR_Object[HCSR_A].Output_Distance,10,&PID_Object[HCNEW_A]);
//		x=PID_Position(HCSR_Object[HCSR_C].Output_Distance,10,&PID_Object[HCNEW_C]);

//		for(int i=0;i<16;i++)
//		{
//				if(x<=800)
//				{
//						x=y+50;
//				}
//		}
//		y=PID_Position(HCSR_Object[HCSR_B].Output_Distance,12,&PID_Object[HCNEW_B]);
//
//		y=PID_Position(LASER_Data_Buff[Laser_Two_Distance],30, &PID_Object[LAPID_B]);
//		x=PID_Position(HCSR_Object[HCSR_A].Output_Distance,12, &PID_Object[HCNEW_A]);

//		z=PID_Position_float(angle, 0, &PID_Object[HWT101]);

//		y=PID_Position(LASER_Data_Buff[Laser_One_Distance],12,&PID_Object[LAPID_A]);

		Target=kinematic_analysis(x,y,z);
//
		set_ccr
		(
				PID_Position(Encoder[0],Target[0], &PID_Object[Motor_A]),
				PID_Position(Encoder[1],Target[1], &PID_Object[Motor_B]),
				PID_Position(Encoder[2],Target[2], &PID_Object[Motor_C]),
				PID_Position(Encoder[3],Target[3], &PID_Object[Motor_D])
		);

		if(Servo_Flag==1)
		{
			x=PID_Position_float(HCSR_Object[HCSR_C].Output_Distance,6,&PID_Object[HCNEW_C]);
			if(HCSR_Object[HCSR_C].Output_Distance==8)
			{
				Servo_Flag=0;
				osSemaphoreRelease(ServoSemHandle);

			}
		}
//		x=PID_Position_float(HCSR_Object[HCSR_C].Output_Distance,15,&PID_Object[HCNEW_C]);

//		if(OpenMV_Process_Busy==1)
//		{
//			if(alongwall_end==0)
//			{
//				x=PID_Position_float(HCSR_Object[HCSR_C].Output_Distance,15,&PID_Object[HCNEW_C]);
//			}
//			if(HCSR_Object[HCSR_C].Output_Distance==15)
//			{
//				x=0;
//				y=PID_Position(OpenMV_dis,-15,&PID_Object[OpenMV]);
//				alongwall_end=1;
//				if(OpenMV_dis<=3-15 && OpenMV_dis>=-3-15)
//				 {
//					 x=PID_Position_float(HCSR_Object[HCSR_C].Output_Distance,8,&PID_Object[HCNEW_C]);
//					 y=0;
//			//		 z=PID_Position(angle,0,&PID_Object[HWT101]);
//					 if(HCSR_Object[HCSR_C].Output_Distance==8)
//					 {
//							x=0;
//						 alongwall_end=0;
//						 //此处应写释放舵机的信号量
//							osSemaphoreRelease(ServoSemHandle);
//					 }
//				 }
//			 }
//		 }

		osDelayUntil(&wakeuptime,10);//固定10ms时间中断一次

  }
  /* USER CODE END RunTask */
}

void StepManager(void const * argument)
{
  /* USER CODE BEGIN StepManager */
  /* Infinite loop */
  for(;;)
  {

		Step_Count++;//此变量具有计数的作用，用于判断车子执行了几个步骤，进而通过此变量来规划下一个步骤
		Step_Sequence_PlanB();
//		Step = Forward_Step;
    switch(Step)
		{
			case GoIn_Step: 			osSemaphoreRelease(GoIn_SemHandle); 			break;
			case Turn_90To0_Step: osSemaphoreRelease(Turn_90To0_SemHandle); break;
			case Turn_0To90_Step: osSemaphoreRelease(Turn_0To90_SemHandle); break;
			case Forward_Step: 		osSemaphoreRelease(Forward_SemHandle); 		break;
			case Backward_Step: 	osSemaphoreRelease(Backward_SemHandle); 	break;
			case Shift_Step_Head: 			osSemaphoreRelease(Shift_Head_SemHandle); 			break;
			case Shift_Step_Tail: 			osSemaphoreRelease(Shift_Tail_SemHandle); 			break;
			case GoOut_step: 			osSemaphoreRelease(GoOut_SemHandle); 			break;
			case Turn_0ToI90_Step: osSemaphoreRelease(Turn_0_I90_SemHandle);break;
			case Turn_I90To0_Step: osSemaphoreRelease(Turn_I90_To_0_SemHandle); break;
			case Turn_0To180_Step: osSemaphoreRelease(Turn_0To_180_SemHandle); break;
			case	Shift_Final_Step:osSemaphoreRelease(Shift_Final_SemHandle);break;
			case	Backward_Final_Step:osSemaphoreRelease(Backward_Final_SemHandle);break;
			default : break;
		}

		osSemaphoreWait(Step_Manager_SemHandle, osWaitForever);

  }
  /* USER CODE END StepManager */
}

void GoIn(void const * argument)
{
  /* USER CODE BEGIN GoIn */
  /* Infinite loop */
  for(;;)
  {

		if(Hold_On==0)
		{
			osSemaphoreWait(GoIn_SemHandle, osWaitForever);
			Clear_Displacement();
			Hold_On=1;//接收到信号量之后，让任务处于保持运行状态
		}
		if(x<=800) x=x+5;//加速
		z=PID_Position_float(angle, 0, &PID_Object[HWT101]);

		osDelay(10);

		if(Displacement_X>=51)
		{
			x=0;
			y=0;
			Clear_Displacement();
			Hold_On=0;//退出任务
		  osSemaphoreRelease(Step_Manager_SemHandle);

		}

  }
  /* USER CODE END GoIn */
}

void Turn0_To_90(void const * argument)
{
  /* USER CODE BEGIN Turn0_To_90 */
  /* Infinite loop */
  for(;;)
  {
    if(Hold_On==0)
		{
			osSemaphoreWait(Turn_0To90_SemHandle, osWaitForever);
			Hold_On=1;//接收到信号量之后，让任务处于保持运行状态
		}
		z=PID_Position_float(angle, 90, &PID_Object[HWT101]);
//		osDelay(10);
		if( (angle>=90-Turn_Range) && (angle<=90+Turn_Range) )
		{
			x=0;
			y=0;
			z=0;
			Clear_Displacement();
			Hold_On=0;//退出任务

			osSemaphoreRelease(Step_Manager_SemHandle);
		}

  }
  /* USER CODE END Turn0_To_90 */
}

void Turn90_To_0(void const * argument)
{
  /* USER CODE BEGIN Turn90_To_0 */
  /* Infinite loop */
  for(;;)
  {
		if(Hold_On==0)
		{
			osSemaphoreWait(Turn_90To0_SemHandle, osWaitForever);
			Hold_On=1;//接收到信号量之后，让任务处于保持运行状态
		}
		z=PID_Position_float(angle, 0, &PID_Object[HWT101]);

		if( (angle>=0-Turn_Range) && (angle<=0+Turn_Range) )
		{
			z=0;
			Clear_Displacement();
			Hold_On=0;//退出任务

			osSemaphoreRelease(Step_Manager_SemHandle);
		}

  }

  /* USER CODE END Turn90_To_0 */
}

void Forward_(void const * argument)
{
  /* USER CODE BEGIN Forward_ */
  /* Infinite loop */
  for(;;)
  {

//		if(Hold_On==0)
//		{
//			osSemaphoreWait(Forward_SemHandle, osWaitForever);
//			Clear_Displacement();
//			Hold_On=1;   //接收到信号量之后，让任务处于保持运行状态
//		}
//		y=600;
//		x=PID_Position_float(HCSR_Object[HCSR_C].Output_Distance,15,&PID_Object[HCNEW_C]);
//		z=PID_Position_float(angle,0, &PID_Object[HWT101]);

    if(Hold_On==0)
		{
			osSemaphoreWait(Forward_SemHandle, osWaitForever);
			Clear_Displacement();
			Hold_On=1;   //接收到信号量之后，让任务处于保持运行状态
		}

		if(Displacement_Y<30)
		{
				x=0;
				y=middle_speed;
				z=PID_Position_float(angle,0, &PID_Object[HWT101]);
		}

		if((Displacement_Y>=30)&&(Displacement_Y<=230))
		{
			 x=PID_Position_float(HCSR_Object[HCSR_C].Output_Distance,11,&PID_Object[HCNEW_C]);
//			 y=fast_speed;
				y=middle_speed;
			 z=PID_Position_float(angle,0, &PID_Object[HWT101]);
		}

		if(Displacement_Y>230)
		{
				x=0;
				y=PID_Position(HCSR_Object[HCSR_B].Output_Distance,9,&PID_Object[HCNEW_B]);
				z=PID_Position_float(angle,0, &PID_Object[HWT101]);

				if( (HCSR_Object[HCSR_B].Output_Distance<=9) && (HCSR_Object[HCSR_B].Output_Distance>=8) )
				{
					x=0;
					y=PID_Position(HCSR_Object[HCSR_B].Output_Distance,9,&PID_Object[HCNEW_B]);
					z=0;
					Clear_Displacement();
					Hold_On=0;//退出任务
					osSemaphoreRelease(Step_Manager_SemHandle);
				}
		}
  }
  /* USER CODE END Forward_ */
}

void Backward_(void const * argument)
{
  /* USER CODE BEGIN Backward_ */
  /* Infinite loop */
   for(;;)
  {
    if(Hold_On==0)
		{
			osSemaphoreWait(Backward_SemHandle, osWaitForever);
			Clear_Displacement();
			Hold_On=1;   //接收到信号量之后，让任务处于保持运行状态
		}

		if(Displacement_Y>-30)
		{
				x=0;
				y=-middle_speed;
				z=PID_Position_float(angle,0, &PID_Object[HWT101]);
		}

	else	if((Displacement_Y<=-30)&&(Displacement_Y>=-230))
		{
			 x=PID_Position_float(HCSR_Object[HCSR_C].Output_Distance,11,&PID_Object[HCNEW_C]);
			 y=-middle_speed;
			 z=PID_Position_float(angle,0, &PID_Object[HWT101]);
		}

		if(Displacement_Y<-230)
		{
				x=0;
				y=PID_Position(LASER_Data_Buff[Laser_One_Distance],5,&PID_Object[LAPID_A]);
				z=PID_Position_float(angle,0, &PID_Object[HWT101]);

				if( (LASER_Data_Buff[Laser_One_Distance]<=10) && (LASER_Data_Buff[Laser_One_Distance]>=6) )
				{
					x=0;
					y=PID_Position(LASER_Data_Buff[Laser_One_Distance],8,&PID_Object[LAPID_A]);
//(LASER_Data_Buff[Laser_Two_Distance]
					z=0;
					Clear_Displacement();
					Hold_On=0;//退出任务
					osSemaphoreRelease(Step_Manager_SemHandle);
				}
		}
  }
  /* USER CODE END Backward_ */
}

void Shift_Head_Task(void const * argument)
{
  /* USER CODE BEGIN Shift_Head_Task */
  /* Infinite loop */
  for(;;)
  {
			if(Hold_On==0)
			{
					osSemaphoreWait(Shift_Head_SemHandle, osWaitForever);
					Clear_Displacement();
					Hold_On=1;//接收到信号量之后，让任务处于保持运行状态
			}

			if(Displacement_Y>=-Shift_Dis)
			{
					x=PID_Position_float(HCSR_Object[HCSR_A].Output_Distance,7,&PID_Object[HCNEW_A]);
					y=-shift_speed;
					z=PID_Position_float(angle,90, &PID_Object[HWT101]);
			}

			else
			{
					x=0;
					y=0;
					z=PID_Position_float(angle,90, &PID_Object[HWT101]);

					Clear_Displacement();
					Hold_On=0;//退出任务
					osSemaphoreRelease(Step_Manager_SemHandle);
			}
  }
  /* USER CODE END Shift_Head_Task */
}

void GoOut(void const * argument)
{
  /* USER CODE BEGIN GoOut */
  /* Infinite loop */
  for(;;)
  {
    if(Hold_On==0)
		{
			osSemaphoreWait(GoOut_SemHandle, osWaitForever);
			Clear_Displacement();
			Hold_On=1;//接收到信号量之后，让任务处于保持运行状态
		}

		if(Displacement_X<=415)
		{
		x=1500;
		y=PID_Position(LASER_Data_Buff[Laser_One_Distance],7,&PID_Object[LAPID_A]);
		z=PID_Position_float( absolute(angle), 180, &PID_Object[NEWHWT180]);
		}

		else if(Displacement_X>445)
		{
			x=0;
			y=0;
			z=0;
			Clear_Displacement();
			Hold_On=0;//退出任务

//			Stop
//			Step = Turn_0To90_Step;
//			osSemaphoreRelease(Step_Manager_SemHandle);
		}
  }
  /* USER CODE END GoOut */
}

void ReadHWT101(void const * argument)
{
  /* USER CODE BEGIN ReadHWT101 */
  /* Infinite loop */
  for(;;)
  {
		osSemaphoreWait(ISR_ReadHWT_SemHandle, osWaitForever);
    CopeSerial2Data(SingleData);
		HAL_UART_Receive_IT(&huart1, &SingleData, 1);
  }
  /* USER CODE END ReadHWT101 */
}

void StartISR(void const * argument)
{
  /* USER CODE BEGIN StartISR */
  /* Infinite loop */
  for(;;)
  {
			HAL_UART_Receive_IT(&huart1, &SingleData, 1);
			HAL_TIM_IC_Start_IT(&htim10,TIM_CHANNEL_1);
			HAL_TIM_IC_Start_IT(&htim11,TIM_CHANNEL_1);
			HAL_TIM_IC_Start_IT(&htim13,TIM_CHANNEL_1);
//		HAL_TIM_IC_Start_IT(&htim14,TIM_CHANNEL_1);

			OpenMV_Init();
			TIM12->CCR1 = 2050;//上舵机闭合
			TIM12->CCR2 = 1000;//下舵机闭

			LASER_1_Init();
			LASER_2_Init();

//			vTaskSuspend(Step_ManagerHandle);
//			vTaskSuspend(OpenMV_ProcessHandle);
			osThreadTerminate(Start_ISRHandle);//清除任务
  }
  /* USER CODE END StartISR */
}

void HCSRAProcess(void const * argument)
{
  /* USER CODE BEGIN HCSRAProcess */
  /* Infinite loop */
  for(;;)
  {
    osSemaphoreWait(HCSRA_SemHandle, osWaitForever);
		HCSR_Process(&HCSR_Object[HCSR_A],TIM10,htim10);
  }
  /* USER CODE END HCSRAProcess */
}

void HCSRBProcess(void const * argument)
{
  /* USER CODE BEGIN HCSRBProcess */
  /* Infinite loop */
  for(;;)
  {
    osSemaphoreWait(HCSRB_SemHandle, osWaitForever);
		HCSR_Process(&HCSR_Object[HCSR_B],TIM11,htim11);
  }
  /* USER CODE END HCSRBProcess */
}

void Shift_Tail_Task(void const * argument)
{
  /* USER CODE BEGIN Shift_Tail_Task */
  /* Infinite loop */
  for(;;)
  {
    if(Hold_On==0)
			{
					osSemaphoreWait(Shift_Tail_SemHandle, osWaitForever);
					Clear_Displacement();
					Hold_On=1;//接收到信号量之后，让任务处于保持运行状态
			}

			if(Displacement_Y<=Shift_Dis)
			{
					x=PID_Position_float(HCSR_Object[HCSR_A].Output_Distance,9,&PID_Object[HCNEW_A]);
					y=shift_speed;
					z=PID_Position_float(angle,-90, &PID_Object[HWT101]);
			}

			else
			{
					x=0;
					y=0;
					z=PID_Position_float(angle,-90, &PID_Object[HWT101]);

					Clear_Displacement();
					Hold_On=0;//退出任务
					osSemaphoreRelease(Step_Manager_SemHandle);
			}
  }
  /* USER CODE END Shift_Tail_Task */
}

void Turn_Zero_To_I90_Task(void const * argument)
{
  /* USER CODE BEGIN Turn_Zero_To_I90_Task */
  /* Infinite loop */
  for(;;)
  {
    if(Hold_On==0)
		{
			osSemaphoreWait(Turn_0_I90_SemHandle, osWaitForever);
			Hold_On=1;//接收到信号量之后，让任务处于保持运行状态
		}
		z=PID_Position_float(angle, -90, &PID_Object[HWT101]);

		if( (angle>=-90-Turn_Range) && (angle<=-90+Turn_Range) )
		{
			z=0;
			Clear_Displacement();
			Hold_On=0;//退出任务

			osSemaphoreRelease(Step_Manager_SemHandle);
		}
  }
  /* USER CODE END Turn_Zero_To_I90_Task */
}

void Turn_I90_To_Zero(void const * argument)
{
  /* USER CODE BEGIN Turn_I90_To_Zero */
  /* Infinite loop */
  for(;;)
  {
    if(Hold_On==0)
		{
			osSemaphoreWait(Turn_I90_To_0_SemHandle, osWaitForever);
			Hold_On=1;//接收到信号量之后，让任务处于保持运行状态
		}
		z=PID_Position_float(angle, 0, &PID_Object[HWT101]);

		if( (angle>=0-Turn_Range) && (angle<=0+Turn_Range) )
		{
			x=0;
			z=0;
			y=0;
			Clear_Displacement();
			Hold_On=0;//退出任务
			osSemaphoreRelease(Step_Manager_SemHandle);
		}
  }
  /* USER CODE END Turn_I90_To_Zero */
}

void Turn_0To_180_Task(void const * argument)
{
  /* USER CODE BEGIN Turn_0To_180_Task */
  /* Infinite loop */

  for(;;)
  {
   if(Hold_On==0)
		{
			osSemaphoreWait(Turn_0To_180_SemHandle, osWaitForever);
			Hold_On=1;//接收到信号量之后，让任务处于保持运行状态
		}
			z=PID_Position_float( absolute(angle), 180, &PID_Object[NEWHWT180]);
			if( ( absolute(angle) >= 180-Turn_Range ) && ( absolute(angle) <= 180+Turn_Range ) )
			{
				x=0;
				y=0;
				Clear_Displacement();
				Hold_On=0;//退出任务
				osSemaphoreRelease(Step_Manager_SemHandle);
			}
	}

  /* USER CODE END Turn_0To_180_Task */
}

void Shift_Final_Task(void const * argument)
{
  /* USER CODE BEGIN Shift_Final_Task */
	int	flag=0;
  /* Infinite loop */
  for(;;)
  {
    if(Hold_On==0)
			{
					osSemaphoreWait(Shift_Final_SemHandle, osWaitForever);
					Clear_Displacement();
					Hold_On=1;//接收到信号量之后，让任务处于保持运行状态
			}

			y=PID_Position_float(HCSR_Object[HCSR_B].Output_Distance,6,&PID_Object[HCNEW_B]);
			if((HCSR_Object[HCSR_B].Output_Distance>=6)&&(HCSR_Object[HCSR_B].Output_Distance<=7))
			{
					flag=1;
					Clear_Displacement();
			}

			if((Displacement_X>=-60)&&(flag==1))
			{
					y=PID_Position_float(HCSR_Object[HCSR_B].Output_Distance,7,&PID_Object[HCNEW_B]);
					x=-shift_speed;
					z=PID_Position_float( absolute(angle), 180, &PID_Object[NEWHWT180]);
			}

			else if((Displacement_X<-Shift_Dis)&&(flag==1))
			{
					x=0;
					y=0;
					z=PID_Position_float( absolute(angle), 180, &PID_Object[NEWHWT180]);

					Clear_Displacement();
					flag=0;
					Hold_On=0;//退出任务

					osSemaphoreRelease(Step_Manager_SemHandle);
			}
  }
  /* USER CODE END Shift_Final_Task */
}

void Backward_Final_Task(void const * argument)
{
  /* USER CODE BEGIN Backward_Final_Task */
  /* Infinite loop */
  for(;;)
  {
     if(Hold_On==0)
		{
			osSemaphoreWait(Backward_Final_SemHandle, osWaitForever);
			Clear_Displacement();
			Hold_On=1;   //接收到信号量之后，让任务处于保持运行状态
		}

//		if(Displacement_Y>-30)
//		{
//				x=0;
//				y=-middle_speed;
//				z=PID_Position_float( absolute(angle), 180, &PID_Object[NEWHWT180]);
//		}

	if(Displacement_Y>-230)
		{
			 x=PID_Position_float(HCSR_Object[HCSR_C].Output_Distance,11,&PID_Object[HCNEW_C]);
			 y=-fast_speed;
				z=PID_Position_float( absolute(angle), 180, &PID_Object[NEWHWT180]);
		}

		if(Displacement_Y<-230)
		{
				x=0;
				y=PID_Position(LASER_Data_Buff[Laser_One_Distance],7,&PID_Object[LAPID_A]);
				z=PID_Position_float( absolute(angle), 180, &PID_Object[NEWHWT180]);

				if( (LASER_Data_Buff[Laser_One_Distance]<=8) && (LASER_Data_Buff[Laser_One_Distance]>=6) )
				{
					x=0;
					y=PID_Position(LASER_Data_Buff[Laser_One_Distance],6,&PID_Object[LAPID_A]);
					z=0;
					Clear_Displacement();
					Hold_On=0;//退出任务
					osSemaphoreRelease(Step_Manager_SemHandle);
				}
		}
  }
  /* USER CODE END Backward_Final_Task */
}

void Servo_Task(void const * argument)
{
  /* USER CODE BEGIN Servo_Task */
  /* Infinite loop */
  for(;;)
  {
			osSemaphoreWait(ServoSemHandle, osWaitForever);

//			x=PID_Position_float(HCSR_Object[HCSR_C].Output_Distance,8,&PID_Object[HCNEW_C]);
//			if(HCSR_Object[HCSR_C].Output_Distance==8)
//			{
//				x=PID_Position_float(HCSR_Object[HCSR_C].Output_Distance,8,&PID_Object[HCNEW_C]);
			TIM12->CCR1 = 2050;//上舵机闭合
			TIM12->CCR2 = 600;//下舵机张开
			osDelay(400);
			TIM12->CCR2 = 1000;//下舵机闭

			osSemaphoreRelease(openmvSemHandle);
//		if(Step_Count==2)
//		{
//			y=-300;
//		}
//		if(Step==Forward_Step)
//		{
//			y=300;
//		}
//			osSemaphoreRelease(openmvSemHandle);

			//等到直走到openmv看不到的地方，恢复所有任务及openmv任务
			vTaskResume(OpenMV_ProcessHandle);

			TIM12->CCR1 = 2400;//上舵机张开
			osDelay(1000);
			TIM12->CCR1 = 2050;//上舵机闭合

//			osDelay(3000);
			//OpenMV_Process_Busy置0
			OpenMV_Process_Busy=0;

//			}

//			TIM12->CCR1 = 2000;//上舵机闭合
//			TIM12->CCR2 = 600;//下舵机张开
//			osDelay(1000);
//			TIM12->CCR2 = 900;//下舵机闭合

			//恢复之前挂起的任务
			vTaskResume(Step_ManagerHandle);
			vTaskResume(Go_InHandle);
			vTaskResume(Turn_0To90Handle);
			vTaskResume(Turn_90To0Handle);

			vTaskResume(ForwardHandle);

			vTaskResume(BackwardHandle);
			vTaskResume(Shift_HeadHandle);
			vTaskResume(Go_OutHandle);
			vTaskResume(Shift_TailHandle);
			vTaskResume(Turn_Zero_To_I9Handle);
			vTaskResume(Turn_I90_To_ZerHandle);
			vTaskResume(Turn_0To_180Handle);
			vTaskResume(Shift_FinalHandle);
			vTaskResume(Backward_FinalHandle);
			vTaskResume(Step_ManagerHandle);

//			osDelay(1000);
//			TIM12->CCR1 = 2400;//上舵机张开
//			osDelay(1000);
//			TIM12->CCR1 = 2000;//上舵机闭合
//
//			//OpenMV_Process_Busy置0
//			OpenMV_Process_Busy=0;

  }
  /* USER CODE END Servo_Task */
}

void OpenMV_Process_Task(void const * argument)
{
  /* USER CODE BEGIN OpenMV_Process_Task */
  /* Infinite loop */
	static uint8_t zero_count=0;
  for(;;)
  {
		osSemaphoreWait(OpenMV_SemHandle, osWaitForever);

		if(cnt==5)//OpenMV一次发过来的字节数是5
		{
			if(USART2_Rx_Buff[0]==0x55 && USART2_Rx_Buff[3]==0x0d && USART2_Rx_Buff[4]==0x0a)//检查包头&包尾是否正确
			{
				if(OpenMV_Process_Busy==0 && USART2_Rx_Buff[1]==1)
				{
					x=0;
					y=0;
					z=0;

					vTaskSuspend(Step_ManagerHandle);
					vTaskSuspend(Go_InHandle);
					vTaskSuspend(Turn_0To90Handle);
					vTaskSuspend(Turn_90To0Handle);
					vTaskSuspend(ForwardHandle);
					vTaskSuspend(BackwardHandle);
					vTaskSuspend(Shift_HeadHandle);
					vTaskSuspend(Go_OutHandle);
					vTaskSuspend(Shift_TailHandle);
					vTaskSuspend(Turn_Zero_To_I9Handle);
					vTaskSuspend(Turn_I90_To_ZerHandle);
					vTaskSuspend(Turn_0To_180Handle);
					vTaskSuspend(Shift_FinalHandle);
					vTaskSuspend(Backward_FinalHandle);

					zero_count=0;
					OpenMV_Process_Busy=1;
				}

//				if(OpenMV_Process_Busy==1 && USART2_Rx_Buff[1]==0 )
//				{
//					zero_count++;
//					if(zero_count>=10)
//					{
//						x=0;
//						y=0;
//						z=0;
//
//						vTaskResume(Step_ManagerHandle);
//						vTaskResume(Go_InHandle);
//						vTaskResume(Turn_0To90Handle);
//						vTaskResume(Turn_90To0Handle);
//						vTaskResume(ForwardHandle);
//						vTaskResume(BackwardHandle);
//						vTaskResume(Shift_HeadHandle);
//						vTaskResume(Go_OutHandle);
//						vTaskResume(Shift_TailHandle);
//						vTaskResume(Turn_Zero_To_I9Handle);
//						vTaskResume(Turn_I90_To_ZerHandle);
//						vTaskResume(Turn_0To_180Handle);
//						vTaskResume(Shift_FinalHandle);
//						vTaskResume(Backward_FinalHandle);
//						zero_count=0;
//						OpenMV_Process_Busy=0;
//					}
//				}

				if(USART2_Rx_Buff[2]<176)
				{
					OpenMV_dis=USART2_Rx_Buff[2];
				}
				else
				{
					OpenMV_dis=USART2_Rx_Buff[2]-256;//负数处理
				}

				if(OpenMV_Process_Busy==1)
				{
					x=PID_Position_float(HCSR_Object[HCSR_C].Output_Distance,11,&PID_Object[HCNEW_C]);
					y=PID_Position(OpenMV_dis,-15,&PID_Object[OpenMV]);
				}
//				z=PID_Position(angle,0,&PID_Object[HWT101]);
			}
		}
   if(OpenMV_dis<=3-15 && OpenMV_dis>=-3-15 && OpenMV_Process_Busy==1 )
	 {
		 x=0;
		 y=0;
////		 z=PID_Position(angle,0,&PID_Object[HWT101]);
//		 if(HCSR_Object[HCSR_C].Output_Distance==8)
//		 {
//				x=0;
		 Servo_Flag=1;
//		 osSemaphoreRelease(ServoSemHandle);
		 vTaskSuspend(OpenMV_ProcessHandle);
			 //此处应写释放舵机的信号量

		 }
//
//
//		 //当下舵机放苗完成之后，上舵机准备预装载下一个苗的时候，把小车行走的任务全部恢复，并且舵机动作全部完成之后OpenMV_Process_Busy置0等待下一次接收
//	 }
	 //将接收缓冲区数据清零
		memset(USART2_Rx_Buff,0,USART2_BUFF_SIZE);
		//再次使能DMA接收
		HAL_UART_Receive_DMA(&huart2,USART2_Rx_Buff,USART2_BUFF_SIZE);
//	 osDelay(10);
  }
  /* USER CODE END OpenMV_Process_Task */
}

void openmv_walk_task(void const * argument)
{
  /* USER CODE BEGIN openmv_walk_task */
  /* Infinite loop */
	static int delay_count;
	static int keep_walk=0;
  for(;;)
  {

		if(keep_walk==0)
		{
			osSemaphoreWait(openmvSemHandle, osWaitForever);
			keep_walk=1;
		}
		if(Step==Backward_Step)
		{
			y=-300;
		}
		if(Step==Forward_Step)
		{
			y=300;
		}
		x=PID_Position_float(HCSR_Object[HCSR_C].Output_Distance,11,&PID_Object[HCNEW_C]);
		z=PID_Position_float(angle,0, &PID_Object[HWT101]);
		vTaskSuspend(ServoHandle);
		osDelay(10);
		delay_count++;
		if(delay_count>=150)
		{
			keep_walk=0;
			vTaskResume(ServoHandle);
			x=0;
			y=0;z=0;
		}
  }

  /* USER CODE END openmv_walk_task */
}

/* USER CODE BEGIN Application */
//void vApplicationStackOverflowHook( TaskHandle_t xTask, signed char *pcTaskName )
//{
//    printf("任务：%s堆栈溢出\r\n", pcTaskName);
//}
/* USER CODE END Application */

/************************ (C) COPYRIGHT STMicroelectronics *****END OF FILE****/
